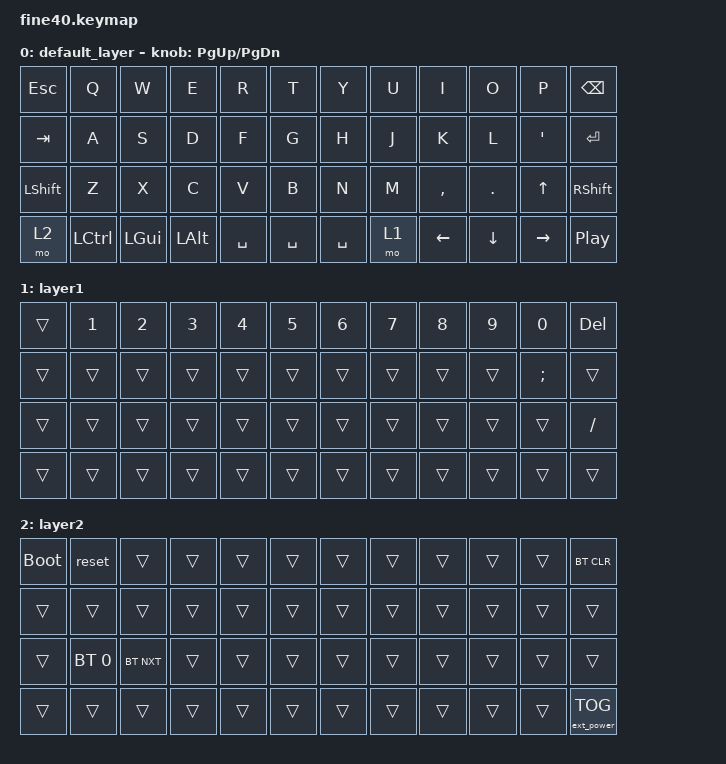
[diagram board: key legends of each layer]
/*
 * Aidan Smith (2021)
 *
 * SPDX-License-Identifier: MIT
 */

#include <behaviors.dtsi>
#include <dt-bindings/zmk/keys.h>
#include <dt-bindings/zmk/bt.h>
#include <dt-bindings/zmk/ext_power.h>

/ {
	keymap {
		compatible = "zmk,keymap";

		default_layer {


			bindings = <
				&kp ESC    &kp Q     &kp W     &kp E     &kp R      &kp T      &kp Y      &kp U  &kp I      &kp O     &kp P      &kp BSPC
				&kp TAB    &kp A     &kp S     &kp D     &kp F      &kp G      &kp H      &kp J  &kp K      &kp L     &kp SQT   &kp RET
				&kp LSHFT  &kp Z     &kp X     &kp C     &kp V      &kp B      &kp N      &kp M  &kp COMMA  &kp DOT   &kp UP     &kp RSHIFT
				&mo 2      &kp LCTL  &kp LGUI  &kp LALT  &kp SPACE  &kp SPACE  &kp SPACE  &mo 1  &kp LEFT   &kp DOWN  &kp RIGHT  &kp C_PP
			>;

			sensor-bindings = <&inc_dec_kp PG_UP PG_DN>;
		};

		layer1 {
			bindings = <
				&trans   &kp N1   &kp N2  &kp N3  &kp N4  &kp N5  &kp N6  &kp N7  &kp N8  &kp N9  &kp N0  &kp DEL
				&trans   &trans   &trans  &trans  &trans  &trans  &trans  &trans  &trans  &trans  &kp SEMI  &trans
				&trans   &trans   &trans  &trans  &trans  &trans  &trans  &trans  &trans  &trans  &trans  &kp FSLH
				&trans   &trans   &trans  &trans  &trans  &trans  &trans  &trans  &trans  &trans  &trans  &trans
			>;
		};

		layer2 {
			bindings = <
				&bootloader  &reset        &trans      &trans  &trans  &trans  &trans  &trans  &trans  &trans  &trans  &bt BT_CLR
				&trans       &trans        &trans      &trans  &trans  &trans  &trans  &trans  &trans  &trans  &trans  &trans
				&trans       &bt BT_SEL 0  &bt BT_NXT  &trans  &trans  &trans  &trans  &trans  &trans  &trans  &trans  &trans
				&trans       &trans        &trans      &trans  &trans  &trans  &trans  &trans  &trans  &trans  &trans  &ext_power EP_TOG
			>;
		};
	};
};
